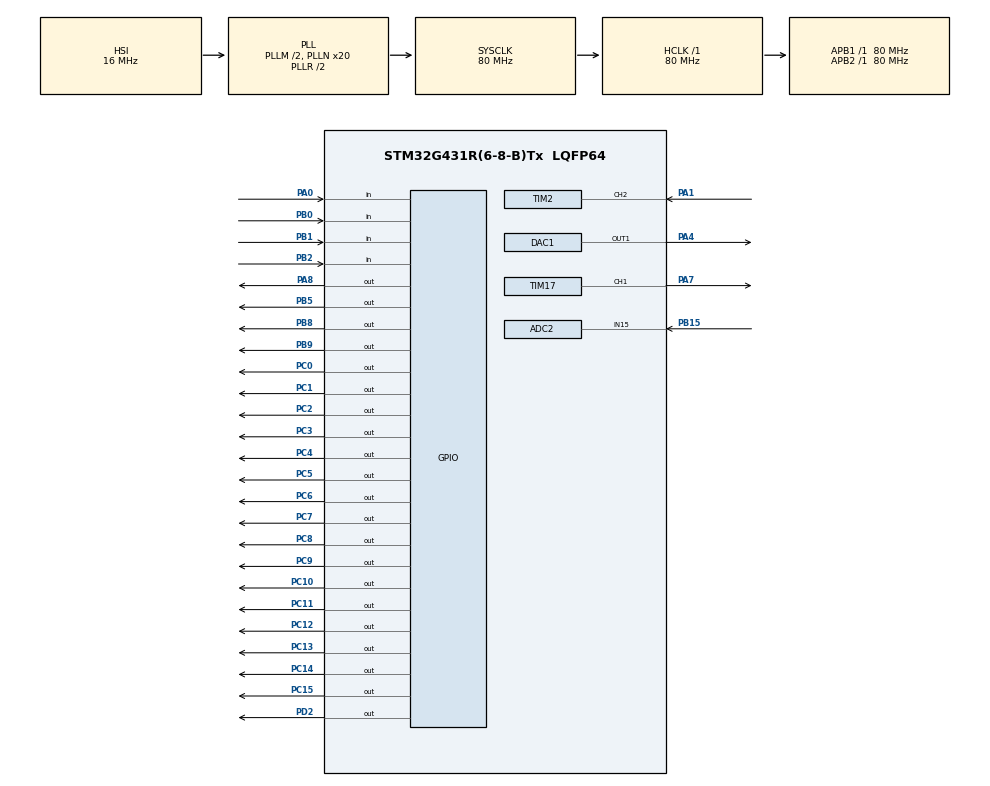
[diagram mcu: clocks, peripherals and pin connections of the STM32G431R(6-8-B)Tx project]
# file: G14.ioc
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ADC2.Channel-0\#ChannelRegularConversion=ADC_CHANNEL_15
ADC2.NbrOfConversionFlag=1
ADC2.OffsetNumber-0\#ChannelRegularConversion=ADC_OFFSET_NONE
ADC2.Rank-0\#ChannelRegularConversion=1
ADC2.SamplingTime-0\#ChannelRegularConversion=ADC_SAMPLETIME_640CYCLES_5
Mcu.Family=STM32G4
Mcu.Name=STM32G431R(6-8-B)Tx
Mcu.Package=LQFP64
NVIC.PriorityGroup=NVIC_PRIORITYGROUP_2
NVIC.TIM1_BRK_TIM15_IRQn=true\:1\:1\:true\:false\:true\:true\:true\:true
NVIC.TIM2_IRQn=true\:0\:0\:false\:false\:true\:true\:true\:true
PA0.Signal=GPIO_Input
PA1.Signal=S_TIM2_CH2
PA4.Signal=COMP_DAC11_group
PA7.Signal=S_TIM17_CH1
PA8.Signal=GPIO_Output
PB0.Signal=GPIO_Input
PB1.Signal=GPIO_Input
PB15.Mode=IN15-Single-Ended
PB15.Signal=ADC2_IN15
PB2.Signal=GPIO_Input
PB5.Signal=GPIO_Output
PB8-BOOT0.Signal=GPIO_Output
PB9.Signal=GPIO_Output
PC0.Signal=GPIO_Output
PC1.Signal=GPIO_Output
PC10.Signal=GPIO_Output
PC11.Signal=GPIO_Output
PC12.Signal=GPIO_Output
PC13.Signal=GPIO_Output
PC14-OSC32_IN.Signal=GPIO_Output
PC15-OSC32_OUT.Signal=GPIO_Output
PC2.Signal=GPIO_Output
PC3.Signal=GPIO_Output
PC4.Signal=GPIO_Output
PC5.Signal=GPIO_Output
PC6.Signal=GPIO_Output
PC7.Signal=GPIO_Output
PC8.Signal=GPIO_Output
PC9.Signal=GPIO_Output
PD2.Signal=GPIO_Output
PF0-OSC_IN.Mode=HSE-External-Oscillator
PF0-OSC_IN.Signal=RCC_OSC_IN
PF1-OSC_OUT.Mode=HSE-External-Oscillator
PF1-OSC_OUT.Signal=RCC_OSC_OUT
ProjectManager.HeapSize=0x200
ProjectManager.StackSize=0x400
ProjectManager.TargetToolchain=MDK-ARM V5
RCC.ADC12Freq_Value=80000000
RCC.AHBFreq_Value=80000000
RCC.APB1Freq_Value=80000000
RCC.APB1TimFreq_Value=80000000
RCC.APB2Freq_Value=80000000
RCC.APB2TimFreq_Value=80000000
RCC.CortexFreq_Value=80000000
RCC.EXTERNAL_CLOCK_VALUE=12288000
RCC.HCLKFreq_Value=80000000
RCC.HSE_VALUE=24000000
RCC.HSI48_VALUE=48000000
RCC.HSI_VALUE=16000000
RCC.LSE_VALUE=32768
RCC.PLLM=RCC_PLLM_DIV2
RCC.PLLN=20
RCC.SYSCLKFreq_VALUE=80000000
RCC.SYSCLKSource=RCC_SYSCLKSOURCE_PLLCLK
RCC.USBFreq_Value=80000000
RCC.VCOOutputFreq_Value=160000000
SH.COMP_DAC11_group.0=DAC1_OUT1,DAC_OUT1
SH.S_TIM17_CH1.0=TIM17_CH1,PWM Generation1 CH1
SH.S_TIM2_CH2.0=TIM2_CH2,Input_Capture2_from_TI2
TIM15.PeriodNoDither=9999
TIM15.Prescaler=799
TIM17.AutoReloadPreload=TIM_AUTORELOAD_PRELOAD_ENABLE
TIM17.Channel=TIM_CHANNEL_1
TIM17.OCMode_PWM=TIM_OCMODE_PWM1
TIM17.OCPolarity_1=TIM_OCPOLARITY_HIGH
TIM17.PeriodNoDither=999
TIM17.Prescaler=79
TIM17.PulseNoDither_1=250
TIM2.AutoReloadPreload=TIM_AUTORELOAD_PRELOAD_DISABLE
TIM2.Channel-Input_Capture2_from_TI2=TIM_CHANNEL_2
TIM2.PeriodNoDither=\ 0xffffffff
TIM2.Prescaler=79
VP_SYS_VS_DBSignals.Mode=DisableDeadBatterySignals
VP_TIM15_VS_ClockSourceINT.Mode=Internal
VP_TIM17_VS_ClockSourceINT.Mode=Enable_Timer
board=custom

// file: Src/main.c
/* USER CODE BEGIN Header */
/**
  ******************************************************************************
  * @file           : main.c
  * @brief          : Main program body
  ******************************************************************************
  * @attention
  *
  * <h2><center>&copy; Copyright (c) 2021 STMicroelectronics.
  * All rights reserved.</center></h2>
  *
  * This software component is licensed by ST under BSD 3-Clause license,
  * the "License"; You may not use this file except in compliance with the
  * License. You may obtain a copy of the License at:
  *                        opensource.org/licenses/BSD-3-Clause
  *
  ******************************************************************************
  */
/* USER CODE END Header */

#include "main.h"
#include "adc.h"
#include "dac.h"
#include "tim.h"
#include "gpio.h"

/* USER CODE BEGIN Includes */
#include "led.h"
#include "key.h"
#include "string.h"
#include "stdio.h"
#include "ds18b20_hal.h"

/* USER CODE END Includes */

void SystemClock_Config(void);

/* USER CODE BEGIN 0 */

#define Display_DATA 0
#define Display_PARA 1
#define Display_RECD 2
#define Display_FSET 3

u8 Display_Mode = 0;

//回放思想：保存在数组里即可
//记录时间  2- 10s  ,100ms采样一次状态，最多采样100次，即10s

//记录pwm
_Bool record_st = 0;
u8 rec_index = 0;
uint32_t record_f[110];
double record_d[110];

//回放pwm

_Bool playback_st = 0;

u8 bac_index = 0;

//记录电压

u8 rec_index_v = 0;
double record_v[110];

//回放电压，考虑利用DAC进行回放
_Bool playback_st_v = 0;

//1

//2

u8 para_chose = 0;//

uint32_t FH = 2000;
double AH = 3.0;
u8 TH = 30;

uint32_t FH_temp = 2000;
double AH_temp = 3.0;
u8 TH_temp = 30;

//3
int FN;
int AN;
int TN;

//4

u8 fset_chose = 0;
uint32_t FP = 1;
double VP = 0.9;
int TT = 6;

uint32_t FP_temp = 1;
double VP_temp = 0.9;
int TT_temp = 6;

//DAC
double PA4_V = 2.1;
u32 dac_val;

void DAC_Proc(void)
{
	dac_val = PA4_V/3.3 * 4095;
	HAL_DAC_SetValue(&hdac1,DAC_CHANNEL_1,DAC_ALIGN_12B_R,dac_val);

	HAL_DAC_Start(&hdac1,DAC_CHANNEL_1);

}

//DS18B20
double temp = 0;
int temp_cnt = 0;

//KEY

_Bool key34_st = 0;
u8 key34_cnt = 0;

uint32_t keyTick = 0;
void Key_Proc(void)
{
	if(uwTick - keyTick < 20)return;
	keyTick = uwTick;

	Key_Read();

	if(Trg & 0x01 && record_st == 0)
	{
		LCD_Clear(Black);
		Display_Mode = (Display_Mode + 1)%4;

		if(Display_Mode == Display_PARA) //退出生效，则有效值为temp
		{
			para_chose = 0;
			FH = FH_temp;
			AH = AH_temp;
			TH = TH_temp;
		}
		else
		{
			FH_temp = FH;
			AH_temp = AH;
			TH_temp = TH;
		}

		if(Display_Mode == Display_FSET)
		{
			fset_chose = 0;
			FP = FP_temp;
			VP = VP_temp;
			TT = TT_temp;
   	}
		else
		{
			FP_temp = FP;
			VP_temp = VP;
			TT_temp = TT;
		}
	}

	if(Trg & 0x02 && record_st == 0)
	{
		if(Display_Mode == Display_DATA)
		{
			record_st = 1;
			rec_index = 0;

		}

		if(Display_Mode == Display_PARA)
		{
			para_chose = (para_chose + 1)%3;
		}

		if(Display_Mode == Display_FSET)
		{
			fset_chose = (fset_chose + 1)%3;
		}

		if(Display_Mode == Display_RECD)
		{
			FN = 0;
			AN = 0;
			TN = 0;
		}
	}

	if(Trg & 0x04 && record_st == 0)
	{
		if(Display_Mode == Display_DATA)
		{
			if(rec_index > 0)
			{
				playback_st_v = 1;
			}
		}

		if(Display_Mode == Display_PARA)
		{
			if(para_chose == 0)
			{
				FH+=1000;
				if(FH == 11000)
					FH = 10000;
			}

			if(para_chose == 1)
			{
				AH+=0.3;
				if(AH > 3.31)
					AH = 3.3;
			}

			if(para_chose == 2)
			{
				TH+=1;
				if(TH == 81 )
					TH = 80;
			}

		}

		if(Display_Mode == Display_FSET)
		{
			if(fset_chose == 0)
			{
				FP+=1;
				if(FP == 11)
					FP = 10;
			}

			if(fset_chose == 1)
			{
				VP+=0.3;
				if(VP > 3.31)
					VP = 3.3;
			}

			if(fset_chose == 2)
			{
				TT+=2;
				if(TT == 12 )
					TT = 10;
			}
		}

	}

	if(Trg & 0x08 && record_st == 0)
	{
		if(Display_Mode == Display_DATA)
		{
			if(rec_index > 0)
			{
				playback_st = 1;
			}
		}

		if(Display_Mode == Display_PARA)
		{
			if(para_chose == 0)
			{
				FH-=1000;
				if(FH == 0)
					FH = 1000;
			}

			if(para_chose == 1)
			{
				AH-=0.3;
				if(AH < 0.01)
					AH = 0;
			}

			if(para_chose == 2)
			{
				if(TH > 0)
				   TH-=1;

			}

		}

		if(Display_Mode == Display_FSET)
		{
			if(fset_chose == 0)
			{
				FP-=1;
				if(FP == 0)
					FP = 1;
			}

			if(fset_chose == 1)
			{
				VP-=0.3;
				if(VP < 0.01)
					VP = 0;
			}

			if(fset_chose == 2)
			{
				TT-=2;
				if(TT == 0 )
					TT = 2;
			}
		}

	}

	if(Cont & 0x0C  && record_st == 0)
	{
		key34_st = 1;
	}
	else
		key34_st = 0;

}

//PA1
uint32_t uwIC2Value1 = 0;
uint32_t uwIC2Value2 = 0;
uint32_t uwDiffCapture = 0;

uint32_t low,high;

/* Capture index */
uint16_t uhCaptureIndex = 0;

/* Frequency Value */
uint32_t uwFrequency = 0;

uint32_t PA1_F = 0;  //频率就这样显示即可
double PA1_D = 0;

void HAL_TIM_IC_CaptureCallback(TIM_HandleTypeDef *htim) //当有输入捕获和其他定时器（systick除外）时，其他定时器响应和抢占优先级都低//分组为2
{
	if(htim == &htim2)
	{
			if (htim->Channel == HAL_TIM_ACTIVE_CHANNEL_2)
			{
				if(uhCaptureIndex == 0)
				{
					/* Get the 1st Input Capture value */
					uwIC2Value1 = HAL_TIM_ReadCapturedValue(htim, TIM_CHANNEL_2);
					__HAL_TIM_SET_CAPTUREPOLARITY(&htim2,TIM_CHANNEL_2,TIM_INPUTCHANNELPOLARITY_FALLING);
					uhCaptureIndex = 1;
				}
				else if(uhCaptureIndex == 1)
				{
					/* Get the 2nd Input Capture value */
					uwIC2Value2 = HAL_TIM_ReadCapturedValue(htim, TIM_CHANNEL_2);
          __HAL_TIM_SET_CAPTUREPOLARITY(&htim2,TIM_CHANNEL_2,TIM_INPUTCHANNELPOLARITY_RISING);
					/* Capture computation */
					if (uwIC2Value2 > uwIC2Value1)
					{
						high = (uwIC2Value2 - uwIC2Value1);
					}
					else if (uwIC2Value2 < uwIC2Value1)
					{
						/* 0xFFFF is max TIM1_CCRx value */
						high = ((0xFFFFFFFF - uwIC2Value1) + uwIC2Value2) + 1;
					}
					else
					{
						/* If capture values are equal, we have reached the limit of frequency
							 measures */
						Error_Handler();
					}

					/* Frequency computation: for this example TIMx (TIM1) is clocked by
						 APB2Clk */
					uhCaptureIndex = 2;
					uwIC2Value1  = uwIC2Value2;
				}
				else if(uhCaptureIndex == 2)
				{
					/* Get the 2nd Input Capture value */
					uwIC2Value2 = HAL_TIM_ReadCapturedValue(htim, TIM_CHANNEL_2);
					/* Capture computation */
					if (uwIC2Value2 > uwIC2Value1)
					{
						low = (uwIC2Value2 - uwIC2Value1);
					}
					else if (uwIC2Value2 < uwIC2Value1)
					{
						/* 0xFFFF is max TIM1_CCRx value */
						low = ((0xFFFFFFFF - uwIC2Value1) + uwIC2Value2) + 1;
					}
					else
					{
						/* If capture values are equal, we have reached the limit of frequency
							 measures */
						Error_Handler();
					}

					/* Frequency computation: for this example TIMx (TIM1) is clocked by
						 APB2Clk */
					uhCaptureIndex = 0;

					PA1_F = 1e6/(low + high);
					PA1_D = low*1.0/(low + high);
				}

			}
	}

}

//PA7

uint32_t PA7_F = 8000;
double PA7_D = 0; //低电平为0，高电平为1
void PWM_Proc(void)
{
	TIM17->ARR = 1e6/PA7_F - 1;
	TIM17->CCR1 = (TIM17->ARR + 1)*PA7_D;
}

//ADC

double r37_v;
void ADC_Proc(void)
{
	HAL_ADC_Start(&hadc2);
	r37_v = HAL_ADC_GetValue(&hadc2)/4095.0 * 3.3;

}

//报警 比较 累加
uint32_t F_temp = 2000; //初值设置和初始阈值相等，防止刚上电累加//考虑刚上电时候大于阈值累加
double r37_v_temp = 3.0;
u8 temp_temp = 30;

uint32_t addTick = 0;
void Add_Proc(void)
{
	if(uwTick - addTick < 100) return;
	addTick = uwTick;

	if(PA1_F > FH && F_temp <= FH)
	{
		FN++;
	}

	if(r37_v > AH && r37_v_temp <= AH)
	{
		AN++;
	}

	if(temp > TH && temp_temp <= TH)
	{
		TN++;
	}

	F_temp = PA1_F;
	r37_v_temp = r37_v;
	temp_temp = temp;

}

//LED
u8 led_ctrl = 0x00;
void Led_Proc(void)
{

	if(PA1_F > FH_temp)
	{
		led_ctrl |= 0x08;
	}
	else
		led_ctrl &= ~0x08;

	if(r37_v > AH_temp)
	{
		led_ctrl |= 0x10;
	}
	else
		led_ctrl &= ~0x10;

	if(temp > TH_temp)
	{
		led_ctrl |= 0x20;
	}
	else
		led_ctrl &= ~0x20;

	Led_Control(led_ctrl);
}

//LCD
uint32_t lcdTick = 0;
void LCD_Proc(void)
{
	if(uwTick - lcdTick < 100) return;
	lcdTick = uwTick;

	ADC_Proc();

	DAC_Proc();

	u8 display_buf[30];

	if(Display_Mode == Display_DATA)
	{
		sprintf((char*)display_buf,"        DATA");
		LCD_DisplayStringLine(Line1,display_buf);

		sprintf((char*)display_buf,"     F=%d       %d",PA1_F,FN);
		LCD_DisplayStringLine(Line3,display_buf);

		sprintf((char*)display_buf,"     D=%.0f%%   ",PA1_D*100);
		LCD_DisplayStringLine(Line4,display_buf);

		sprintf((char*)display_buf,"     A=%.1f     %d",r37_v,AN);
		LCD_DisplayStringLine(Line5,display_buf);

		sprintf((char*)display_buf,"     T=%.1f     %d",temp,TN);
		LCD_DisplayStringLine(Line6,display_buf);
	}

	if(Display_Mode == Display_PARA)
	{
		sprintf((char*)display_buf,"        PARA ");
		LCD_DisplayStringLine(Line1,display_buf);

		sprintf((char*)display_buf,"     FH=%d        ",FH);
		LCD_DisplayStringLine(Line3,display_buf);

		sprintf((char*)display_buf,"     AH=%.1f   ",AH);
		LCD_DisplayStringLine(Line4,display_buf);

		sprintf((char*)display_buf,"     TH=%d     ",TH);
		LCD_DisplayStringLine(Line5,display_buf);

	}

	if(Display_Mode == Display_RECD)
	{
		sprintf((char*)display_buf,"        RECD");
		LCD_DisplayStringLine(Line1,display_buf);

		sprintf((char*)display_buf,"     FN=%d     ",FN);
		LCD_DisplayStringLine(Line3,display_buf);

		sprintf((char*)display_buf,"     AN=%d     ",AN);
		LCD_DisplayStringLine(Line4,display_buf);

		sprintf((char*)display_buf,"     TN=%d     ",TN);
		LCD_DisplayStringLine(Line5,display_buf);
	}

	if(Display_Mode == Display_FSET)
	{
		sprintf((char*)display_buf,"        FSET");
		LCD_DisplayStringLine(Line1,display_buf);

		sprintf((char*)display_buf,"     FP=%d     ",FP);
		LCD_DisplayStringLine(Line3,display_buf);

		sprintf((char*)display_buf,"     VP=%.1f     ",VP);
		LCD_DisplayStringLine(Line4,display_buf);

		sprintf((char*)display_buf,"     TT=%d     ",TT);
		LCD_DisplayStringLine(Line5,display_buf);
	}

}

//TIM15 - 100ms -- 存放变量或者简单动作(非读数)
//799 - 9999
//u8 ledcnt = 0;
void HAL_TIM_PeriodElapsedCallback(TIM_HandleTypeDef *htim)
{
	if(htim == &htim15)
	{
//		if(++ledcnt == 2)
//		{
//			ledcnt = 0;
//			led_ctrl ^=0x02;
//		}
	    if(key34_st == 1)
			{
				if(++key34_cnt == 20)
				{
					key34_cnt = 0;
					key34_st = 0;
					LCD_Clear(Black);
					Display_Mode = Display_DATA;

					FH = FH_temp = 2000;
					AH = AH_temp = 3.0;
					TH = TH_temp = 30;

					FP = FP_temp = 1;
					VP = VP_temp = 0.9;
					TT = TT_temp = 6;

					FN = AN = TN = 0;
					para_chose = fset_chose = 0;

				  F_temp = 2000; //初值设置和初始阈值相等，防止刚上电累加//考虑刚上电时候大于阈值累加
			    r37_v_temp = 3.0;
				  temp_temp = 30;
				}
			}
			else
			{
				key34_cnt = 0;
			}

			//记录
			if(record_st == 1 )
			{
				//记录pwm
				record_f[++rec_index] = PA1_F; //存放1-60个数据,共计60个数据,（仅保留最近一次的一组数据）
				record_d[rec_index]   = PA1_D;

				//记录电压
				record_v[rec_index] = r37_v;

				led_ctrl^= 0x01;

				if(rec_index == TT * 10) //记录完成
				{
					record_st = 0;
          led_ctrl &=~0x01;
				}

			}

			//回放pwm
			if(playback_st == 1)
			{

				PA7_F = record_f[++bac_index]/FP_temp; //注意有效值
        PA7_D = record_d[bac_index];

				led_ctrl ^= 0x02;
				if(bac_index == TT * 10)
				{
					playback_st = 0;
					bac_index = 0;
					PA7_F = 1000;
					PA7_D = 0; //低电平

					led_ctrl &= ~0x02;
				}
			}

			//回放电压
			if(playback_st_v == 1)
			{

				PA7_F = 1000;

//				if(record_v[++bac_index] <= VP_temp)
//				{
//					PA7_D = 0.1;
//				}
//				else
//				{
//					PA7_D = (record_v[bac_index] - 3.3)*0.9/(3.3 - VP_temp) + 1;
//				}

				PA4_V = record_v[++bac_index];
				led_ctrl ^= 0x04;

				if(bac_index == TT * 10)
				{
					playback_st_v = 0;
					bac_index = 0;
					PA7_F = 1000;
					PA7_D = 0; //低电平

					led_ctrl &= ~0x04;

					PA4_V = 0;
				}
			}

	}
}

void SysTick_Handler(void)
{
  /* USER CODE BEGIN SysTick_IRQn 0 */

  /* USER CODE END SysTick_IRQn 0 */
  HAL_IncTick();
  /* USER CODE BEGIN SysTick_IRQn 1 */
	if(++temp_cnt == 500)   //固定了，由于优先级都是最高，温度只能放systick
		{
			temp_cnt = 0;
			temp = DS18B20_Read();
		}

  /* USER CODE END SysTick_IRQn 1 */
}

/* USER CODE END 0 */

int main(void)
{

  /* MCU Configuration--------------------------------------------------------*/

  /* Reset of all peripherals, Initializes the Flash interface and the Systick. */
  HAL_Init();

  /* Configure the system clock */
  SystemClock_Config();

  /* Initialize all configured peripherals */
  MX_GPIO_Init();
  MX_ADC2_Init();
  MX_TIM2_Init();
  MX_TIM17_Init();
  MX_TIM15_Init();
  MX_DAC1_Init();
  /* USER CODE BEGIN 2 */

    LCD_Init();

		//PA1
		HAL_TIM_IC_Start_IT(&htim2,TIM_CHANNEL_2);

		//PA7
		HAL_TIM_PWM_Start(&htim17,TIM_CHANNEL_1);

		//DS18B20
		ds18b20_init_x();

		while(DS18B20_Read() >= 85){};

		//TIM15 -- 用新的定时器会干扰频率捕获
		HAL_TIM_Base_Start_IT(&htim15);

  /* USER CODE END 2 */

  /* Infinite loop */
  /* USER CODE BEGIN WHILE */

    LCD_Clear(Black);
    LCD_SetBackColor(Black);
    LCD_SetTextColor(White);

//    LCD_DrawLine(120, 0, 320, Horizontal);
//    LCD_DrawLine(0, 160, 240, Vertical);
//    HAL_Delay(1000);
//    LCD_Clear(Blue);

//    LCD_DrawRect(70, 210, 100, 100);
//    HAL_Delay(1000);
//    LCD_Clear(Blue);

//    LCD_DrawCircle(120, 160, 50);
//    HAL_Delay(1000);

//    LCD_Clear(Blue);
//    LCD_DisplayStringLine(Line4, (unsigned char *)"    Hello,world.   ");
//    HAL_Delay(1000);

//    LCD_SetBackColor(White);
//    LCD_DisplayStringLine(Line0, (unsigned char *)"                    ");
//    LCD_SetBackColor(Black);
//    LCD_DisplayStringLine(Line1, (unsigned char *)"                    ");
//    LCD_SetBackColor(Grey);
//    LCD_DisplayStringLine(Line2, (unsigned char *)"                    ");
//    LCD_SetBackColor(Blue);
//    LCD_DisplayStringLine(Line3, (unsigned char *)"                    ");
//    LCD_SetBackColor(Blue2);
//    LCD_DisplayStringLine(Line4, (unsigned char *)"                    ");
//    LCD_SetBackColor(Red);
//    LCD_DisplayStringLine(Line5, (unsigned char *)"                    ");
//    LCD_SetBackColor(Magenta);
//    LCD_DisplayStringLine(Line6, (unsigned char *)"                    ");
//    LCD_SetBackColor(Green);
//    LCD_DisplayStringLine(Line7, (unsigned char *)"                    ");
//    LCD_SetBackColor(Cyan);
//    LCD_DisplayStringLine(Line8, (unsigned char *)"                    ");
//    LCD_SetBackColor(Yellow);
//    LCD_DisplayStringLine(Line9, (unsigned char *)"                    ");

		Led_Control(0x00);
    while (1)
    {
    /* USER CODE END WHILE */

    /* USER CODE BEGIN 3 */
			LCD_Proc();
			PWM_Proc();
			Key_Proc();
			Add_Proc();
			Led_Proc();
    }
  /* USER CODE END 3 */
}

void SystemClock_Config(void)
{
  RCC_OscInitTypeDef RCC_OscInitStruct = {0};
  RCC_ClkInitTypeDef RCC_ClkInitStruct = {0};
  RCC_PeriphCLKInitTypeDef PeriphClkInit = {0};

  /** Configure the main internal regulator output voltage
  */
  HAL_PWREx_ControlVoltageScaling(PWR_REGULATOR_VOLTAGE_SCALE1);
  /** Initializes the CPU, AHB and APB busses clocks
  */
  RCC_OscInitStruct.OscillatorType = RCC_OSCILLATORTYPE_HSI;
  RCC_OscInitStruct.HSIState = RCC_HSI_ON;
  RCC_OscInitStruct.HSICalibrationValue = RCC_HSICALIBRATION_DEFAULT;
  RCC_OscInitStruct.PLL.PLLState = RCC_PLL_ON;
  RCC_OscInitStruct.PLL.PLLSource = RCC_PLLSOURCE_HSI;
  RCC_OscInitStruct.PLL.PLLM = RCC_PLLM_DIV2;
  RCC_OscInitStruct.PLL.PLLN = 20;
  RCC_OscInitStruct.PLL.PLLP = RCC_PLLP_DIV2;
  RCC_OscInitStruct.PLL.PLLQ = RCC_PLLQ_DIV2;
  RCC_OscInitStruct.PLL.PLLR = RCC_PLLR_DIV2;
  if (HAL_RCC_OscConfig(&RCC_OscInitStruct) != HAL_OK)
  {
    Error_Handler();
  }
  /** Initializes the CPU, AHB and APB busses clocks
  */
  RCC_ClkInitStruct.ClockType = RCC_CLOCKTYPE_HCLK|RCC_CLOCKTYPE_SYSCLK
                              |RCC_CLOCKTYPE_PCLK1|RCC_CLOCKTYPE_PCLK2;
  RCC_ClkInitStruct.SYSCLKSource = RCC_SYSCLKSOURCE_PLLCLK;
  RCC_ClkInitStruct.AHBCLKDivider = RCC_SYSCLK_DIV1;
  RCC_ClkInitStruct.APB1CLKDivider = RCC_HCLK_DIV1;
  RCC_ClkInitStruct.APB2CLKDivider = RCC_HCLK_DIV1;

  if (HAL_RCC_ClockConfig(&RCC_ClkInitStruct, FLASH_LATENCY_3) != HAL_OK)
  {
    Error_Handler();
  }
  /** Initializes the peripherals clocks
  */
  PeriphClkInit.PeriphClockSelection = RCC_PERIPHCLK_ADC12;
  PeriphClkInit.Adc12ClockSelection = RCC_ADC12CLKSOURCE_SYSCLK;
  if (HAL_RCCEx_PeriphCLKConfig(&PeriphClkInit) != HAL_OK)
  {
    Error_Handler();
  }
}

void Error_Handler(void)
{
}

/************************ (C) COPYRIGHT STMicroelectronics *****END OF FILE****/
